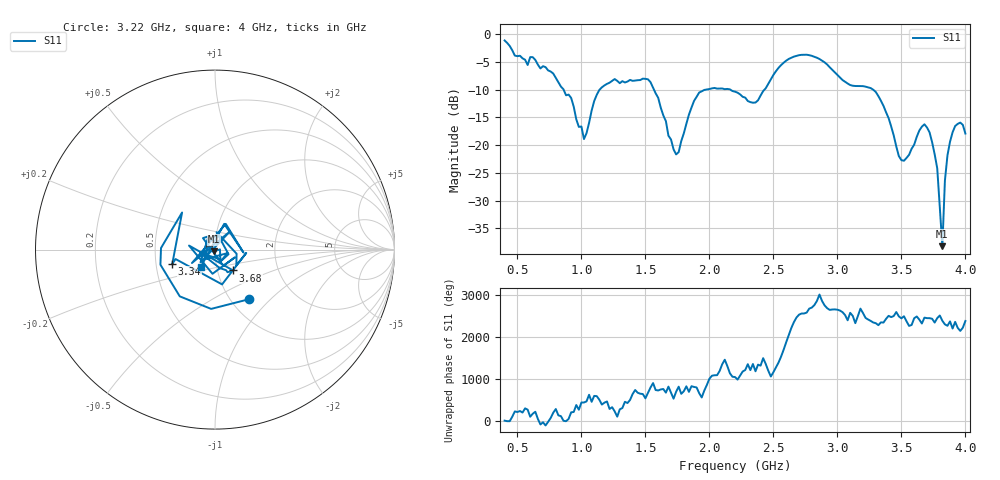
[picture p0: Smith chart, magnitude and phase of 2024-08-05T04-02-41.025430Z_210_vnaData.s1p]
!Created with skrf (http://scikit-rf.org).
# Hz S RI R 50.0
!freq ReS11 ImS11
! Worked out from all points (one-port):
!   181 points, 400 MHz to 4 GHz, reference 50 ohm
!   lowest |S11| = -38.2 dB at 3.82 GHz (marker M1), VSWR 1.02, Z = 49.3 - j1.01 ohm
!   |S11| at or under -10 dB: 860.9 MHz to 1.143 GHz (282.1 MHz wide, 28.2 % of centre); 1.567 GHz to 1.975 GHz (408.2 MHz wide, 23 % of centre); 3.279 GHz to end of sweep (the widest 3 of 4)
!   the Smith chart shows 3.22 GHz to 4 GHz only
!   S11 on the Smith chart (normalised r, x): 3.22 GHz: 1.22, -0.76; 3.34 GHz: 0.61, -0.10; 3.68 GHz: 1.19, -0.28; 4 GHz: 0.84, -0.17
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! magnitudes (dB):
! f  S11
! 400 MHz  -1.2
! 860 MHz  -10.0
! 920 MHz  -11.5
! 1.02 GHz  -18.9
! 1.14 GHz  -10.1
! 1.3 GHz  -8.8
! 1.54 GHz  -8.7
! 1.72 GHz  -20.8
! 1.76 GHz  -21.3
! 1.84 GHz  -14.5
! 1.92 GHz  -10.5
! 2.2 GHz  -10.4
! 2.36 GHz  -12.3
! 2.66 GHz  -4.1
! 2.86 GHz  -4.5
! 3.1 GHz  -9.2
! 3.22 GHz  -9.5
! 3.34 GHz  -12.0
! 3.48 GHz  -22.0
! 3.56 GHz  -21.7
! 3.68 GHz  -16.3
! 3.72 GHz  -17.7
! 3.78 GHz  -24.2
! 3.82 GHz  -38.2
! 3.84 GHz  -26.4
! 3.88 GHz  -19.4
! 3.94 GHz  -16.2
! 4 GHz  -17.9
